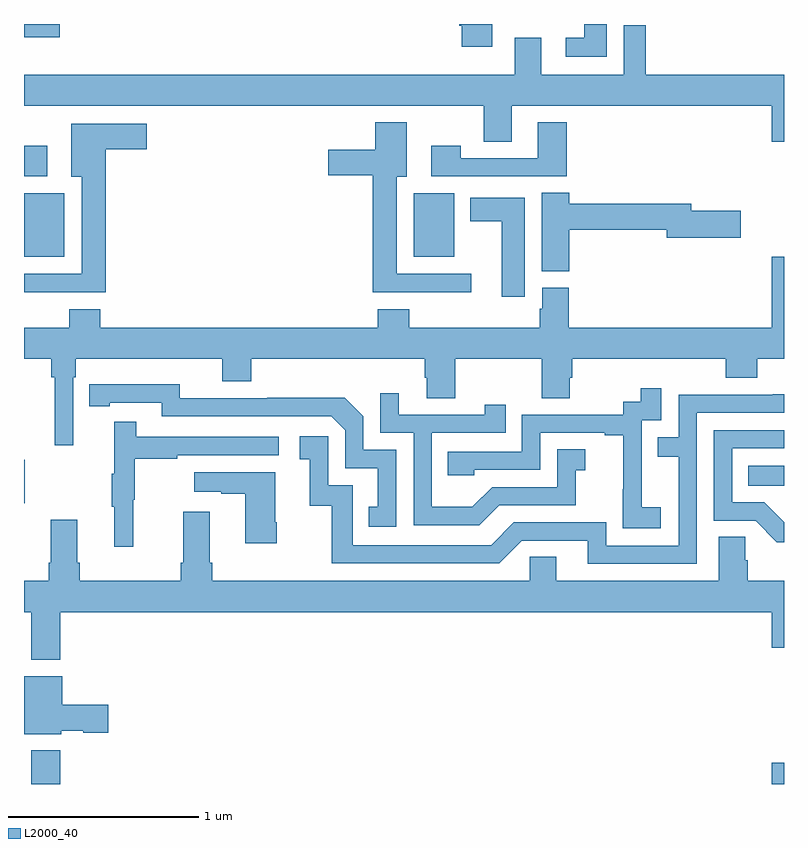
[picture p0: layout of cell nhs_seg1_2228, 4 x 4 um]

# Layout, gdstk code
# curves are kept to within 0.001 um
import gdstk
lib = gdstk.Library(unit=1e-6, precision=1e-09)
def R(c, l, rs):  # rectangles x0, y0, x1, y1
    for r in rs: c.add(gdstk.rectangle(r[:2], r[2:], *l))
def P(c, l, *ps):  # polygons
    for p in ps: c.add(gdstk.Polygon(p, *l))
L2000_40 = (2000, 40)

nhs_seg1_2228 = lib.new_cell('nhs_seg1_2228')
R(nhs_seg1_2228, L2000_40, [(233.039,512.199,233.192,512.377), (236.936,512.199,237,512.311), (233,513.676,233.004,513.906), (236.812,513.77,237,513.874), (233,514.973,233.212,515.308), (235.052,514.973,235.264,515.308), (233,515.397,233.122,515.557), (233,516.128,233.188,516.199)])
P(nhs_seg1_2228, L2000_40, [(236.068,516.199),(235.949,516.199),(235.949,516.127),(235.851,516.127),(235.851,516.026),(236.068,516.026)],
  [(235.465,516.199),(235.292,516.199),(235.292,516.19),(235.304,516.19),(235.304,516.078),(235.465,516.078)],
  [(235.567,515.768),(236.936,515.768),(236.936,515.58),(237,515.58),(237,515.932),(236.273,515.932),(236.273,516.193),(236.157,516.193),(236.157,515.932),(235.723,515.932),(235.723,516.127),(235.583,516.127),(235.583,515.932),(233,515.932),(233,515.768),(235.42,515.768),(235.42,515.578),(235.567,515.578)],
  [(235.354,514.884),(234.961,514.884),(234.961,515.396),(235.015,515.396),(235.015,515.683),(234.848,515.683),(234.848,515.536),(234.6,515.536),(234.6,515.402),(234.836,515.402),(234.836,514.787),(235.354,514.787)],
  [(235.856,515.683),(235.703,515.683),(235.703,515.493),(235.299,515.493),(235.299,515.557),(235.143,515.557),(235.143,515.397),(235.856,515.397)],
  [(233.429,515.54),(233.647,515.54),(233.647,515.674),(233.249,515.674),(233.249,515.396),(233.303,515.396),(233.303,514.884),(233,514.884),(233,514.787),(233.429,514.787)],
  [(235.871,515.116),(236.384,515.116),(236.384,515.074),(236.773,515.074),(236.773,515.216),(236.512,515.216),(236.512,515.252),(235.871,515.252),(235.871,515.312),(235.724,515.312),(235.724,514.897),(235.871,514.897)],
  [(235.636,515.284),(235.349,515.284),(235.349,515.162),(235.514,515.162),(235.514,514.764),(235.636,514.764)],
  [(235.726,514.228),(235.873,514.228),(235.873,514.338),(235.886,514.338),(235.886,514.436),(236.693,514.436),(236.693,514.337),(236.858,514.337),(236.858,514.436),(237,514.436),(237,514.975),(236.936,514.975),(236.936,514.6),(235.868,514.6),(235.868,514.812),(235.727,514.812),(235.727,514.701),(235.715,514.701),(235.715,514.6),(235.028,514.6),(235.028,514.699),(234.863,514.699),(234.863,514.6),(233.402,514.6),(233.402,514.699),(233.237,514.699),(233.237,514.6),(233,514.6),(233,514.436),(233.143,514.436),(233.143,514.34),(233.162,514.34),(233.162,513.981),(233.259,513.981),(233.259,514.34),(233.273,514.34),(233.273,514.436),(234.044,514.436),(234.044,514.319),(234.197,514.319),(234.197,514.436),(235.109,514.436),(235.109,514.338),(235.121,514.338),(235.121,514.228),(235.269,514.228),(235.269,514.436),(235.726,514.436)],
  [(234.96,513.957),(234.786,513.957),(234.786,514.134),(234.688,514.232),(234.28,514.232),(234.28,514.23),(233.82,514.23),(233.82,514.303),(233.344,514.302),(233.344,514.186),(233.452,514.186),(233.452,514.206),(233.724,514.206),(233.724,514.134),(234.618,514.134),(234.69,514.062),(234.69,513.861),(234.863,513.861),(234.863,513.657),(234.814,513.657),(234.814,513.552),(234.96,513.552)],
  [(236.35,513.655),(236.252,513.655),(236.252,513.884),(236.25,513.884),(236.25,514.113),(236.355,514.113),(236.355,514.282),(236.247,514.282),(236.247,514.212),(236.154,514.212),(236.154,514.143),(235.62,514.143),(235.62,513.948),(235.231,513.948),(235.231,513.825),(235.371,513.825),(235.371,513.852),(235.716,513.852),(235.716,514.047),(236.057,514.047),(236.057,514.035),(236.153,514.035),(236.153,513.751),(236.152,513.751),(236.152,513.545),(236.35,513.545)],
  [(235.501,513.666),(235.905,513.666),(235.905,513.851),(235.954,513.851),(235.954,513.961),(235.806,513.961),(235.806,513.762),(235.464,513.762),(235.36,513.658),(235.146,513.658),(235.146,514.047),(235.535,514.047),(235.535,514.195),(235.424,514.195),(235.424,514.143),(234.973,514.143),(234.973,514.255),(234.876,514.255),(234.876,514.047),(235.05,514.047),(235.05,513.561),(235.396,513.561)],
  [(236.541,514.152),(237,514.152),(237,514.25),(236.941,514.25),(236.941,514.248),(236.445,514.248),(236.445,514.023),(236.335,514.023),(236.335,513.922),(236.445,513.922),(236.445,513.453),(236.064,513.453),(236.064,513.576),(235.578,513.576),(235.458,513.456),(234.729,513.456),(234.729,513.771),(234.6,513.771),(234.6,514.03),(234.45,514.03),(234.45,513.909),(234.503,513.909),(234.503,513.663),(234.621,513.663),(234.621,513.36),(235.5,513.36),(235.62,513.48),(235.967,513.48),(235.967,513.357),(236.541,513.357)],
  [(233.576,513.696),(233.584,513.696),(233.584,513.91),(233.807,513.91),(233.807,513.93),(234.34,513.93),(234.34,514.026),(233.591,514.026),(233.591,514.105),(233.474,514.105),(233.474,513.833),(233.463,513.833),(233.463,513.659),(233.474,513.659),(233.474,513.447),(233.576,513.447)],
  [(237,513.577),(236.896,513.681),(236.727,513.681),(236.727,513.966),(237,513.966),(237,514.062),(236.631,514.062),(236.631,513.585),(236.85,513.585),(236.963,513.472),(237,513.472)],
  [(234.33,513.577),(234.322,513.577),(234.322,513.841),(233.895,513.841),(233.895,513.737),(234.038,513.737),(234.038,513.727),(234.164,513.727),(234.164,513.465),(234.33,513.465)],
  [(233.192,513.104),(236.936,513.104),(236.936,512.916),(237,512.916),(237,513.268),(236.81,513.268),(236.81,513.377),(236.796,513.377),(236.796,513.5),(236.657,513.5),(236.657,513.268),(235.801,513.268),(235.801,513.395),(235.662,513.395),(235.662,513.268),(233.99,513.268),(233.99,513.364),(233.977,513.364),(233.977,513.631),(233.837,513.631),(233.837,513.364),(233.825,513.364),(233.825,513.268),(233.294,513.268),(233.294,513.364),(233.281,513.364),(233.281,513.589),(233.141,513.589),(233.141,513.364),(233.129,513.364),(233.129,513.268),(233,513.268),(233,513.104),(233.039,513.104),(233.039,512.852),(233.192,512.852)],
  [(233.196,512.48),(233.313,512.48),(233.313,512.468),(233.443,512.468),(233.443,512.615),(233.2,512.615),(233.2,512.767),(233,512.767),(233,512.462),(233.196,512.462)])

lib.write_gds('nhs_seg1_2228.gds')
